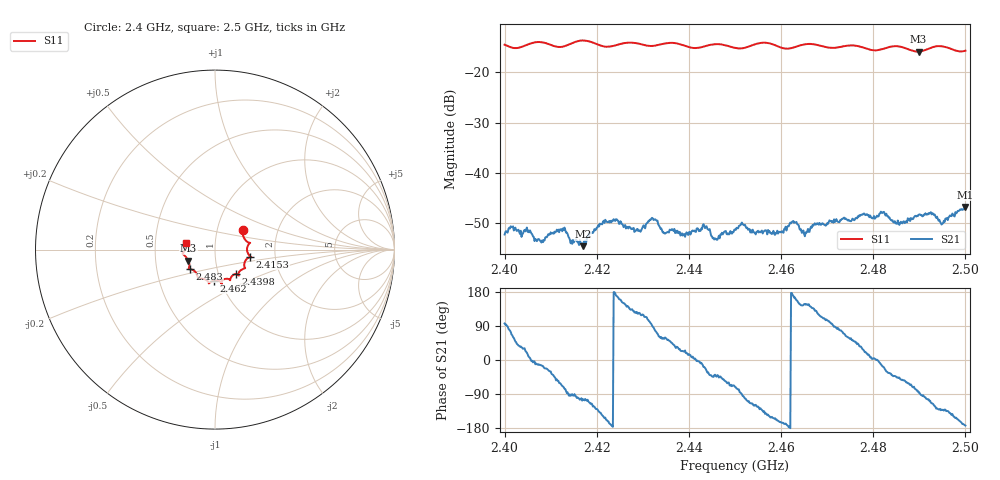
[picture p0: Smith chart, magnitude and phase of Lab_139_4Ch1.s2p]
# Hz S RI R 50
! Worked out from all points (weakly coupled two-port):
!   601 points, 2.4 GHz to 2.5 GHz, reference 50 ohm
!   highest |S21| = -46.78 dB at 2.5 GHz (marker M1); lowest = -54.6 dB at 2.417 GHz (marker M2)
!   lowest |S11| = -15.9 dB at 2.4898 GHz (marker M3), VSWR 1.38, Z = 36.8 - j4.63 ohm
!   |S11| at or under -10 dB: start of sweep to end of sweep
!   S12 and S22 are empty: the file has one direction only
!   S11 on the Smith chart (normalised r, x): 2.4 GHz: 1.33, +0.29; 2.4153 GHz: 1.48, -0.12; 2.4398 GHz: 1.21, -0.34; 2.462 GHz: 0.93, -0.33; 2.483 GHz: 0.74, -0.17; 2.5 GHz: 0.72, +0.06
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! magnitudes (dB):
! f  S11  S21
! 2.4 GHz  -14.5  -52.2
! 2.4052 GHz  -14.4  -51.5
! 2.4082 GHz  -14.0  -53.4
! 2.4125 GHz  -14.9  -51.6
! 2.4153 GHz  -14.0  -53.4
! 2.4167 GHz  -13.7  -54.0
! 2.417 GHz  -13.7  -54.6
! 2.4218 GHz  -14.9  -49.3
! 2.4287 GHz  -14.2  -51.2
! 2.4333 GHz  -14.6  -50.2
! 2.4398 GHz  -15.0  -52.3
! 2.4435 GHz  -14.8  -51.0
! 2.4458 GHz  -14.4  -53.1
! 2.45 GHz  -15.1  -51.2
! 2.4585 GHz  -14.5  -52.1
! 2.462 GHz  -15.2  -49.9
! 2.4667 GHz  -14.4  -50.9
! 2.483 GHz  -15.1  -48.5
! 2.4833 GHz  -15.0  -48.9
! 2.4898 GHz  -15.9  -48.3
! 2.495 GHz  -14.8  -50.1
! 2.5 GHz  -15.7  -46.8
